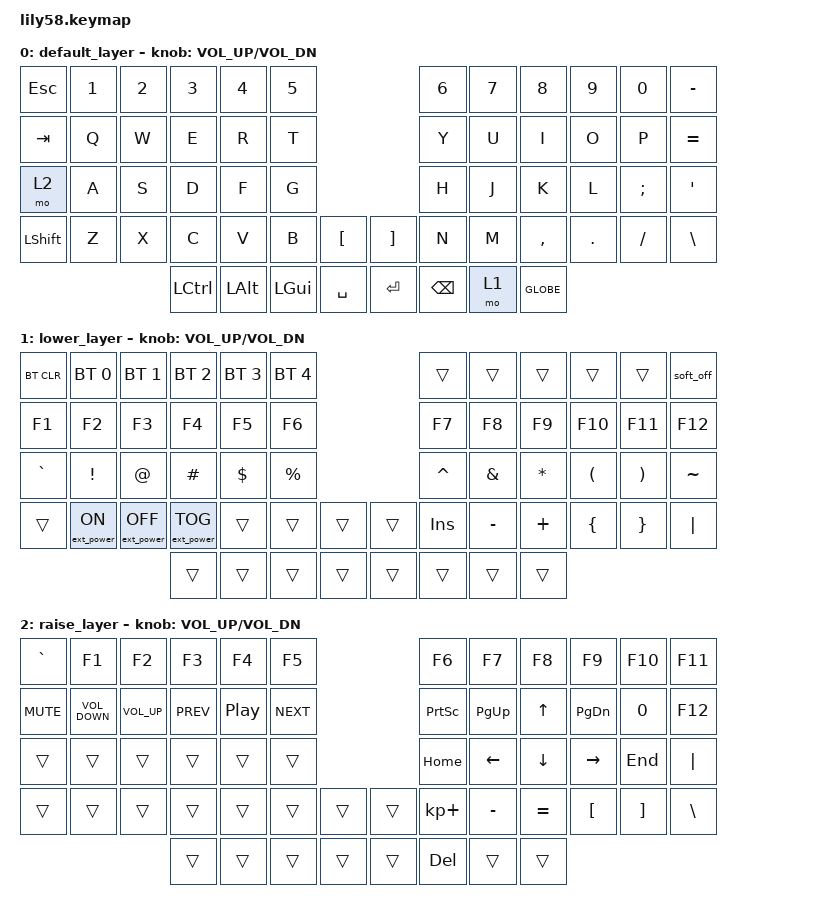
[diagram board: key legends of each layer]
/*
 * Copyright (c) 2020 The ZMK Contributors
 *
 * SPDX-License-Identifier: MIT
 */

#include <behaviors.dtsi>
#include <dt-bindings/zmk/bt.h>
#include <dt-bindings/zmk/ext_power.h>
#include <dt-bindings/zmk/keys.h>

/ {
    keymap {
        compatible = "zmk,keymap";

        default_layer {
            // ------------------------------------------------------------------------------------------------------------
            // |  ESC  |  1  |  2  |  3   |  4   |  5   |                   |  6   |  7    |  8    |  9   |   0   |   `   |
            // |  TAB  |  Q  |  W  |  E   |  R   |  T   |                   |  Y   |  U    |  I    |  O   |   P   |   -   |
            // |  CTRL |  A  |  S  |  D   |  F   |  G   |                   |  H   |  J    |  K    |  L   |   ;   |   '   |
            // | SHIFT |  Z  |  X  |  C   |  V   |  B   |   "["  |  |  "]"  |  N   |  M    |  ,    |  .   |   /   | SHIFT |
            //                     | ALT  | GUI  | LOWER|  SPACE |  | ENTER | RAISE| BSPC  | GUI   |

            bindings = <
&kp ESC    &kp N1  &kp N2  &kp N3            &kp N4        &kp N5                               &kp N6         &kp N7  &kp N8     &kp N9   &kp N0    &kp MINUS
&kp TAB    &kp Q   &kp W   &kp E             &kp R         &kp T                                &kp Y          &kp U   &kp I      &kp O    &kp P     &kp EQUAL
&mo 2      &kp A   &kp S   &kp D             &kp F         &kp G                                &kp H          &kp J   &kp K      &kp L    &kp SEMI  &kp SQT
&kp LSHFT  &kp Z   &kp X   &kp C             &kp V         &kp B         &kp LBKT     &kp RBKT  &kp N          &kp M   &kp COMMA  &kp DOT  &kp FSLH  &kp BACKSLASH
                           &kp LEFT_CONTROL  &kp LEFT_ALT  &kp LEFT_GUI  &kp SPACE    &kp RET   &kp BACKSPACE  &mo 1   &kp GLOBE
            >;

            sensor-bindings = <&inc_dec_kp C_VOL_UP C_VOL_DN>;
        };

        lower_layer {
            // ------------------------------------------------------------------------------------------------------------
            // | BTCLR | BT1 | BT2 |  BT3 |  BT4 |  BT5 |                   |      |       |       |      |       |       |
            // |  F1   |  F2 |  F3 |  F4  |  F5  |  F6  |                   |  F7  |  F8   |  F9   |  F10 |  F11  |  F12  |
            // |   `   |  !  |  @  |  #   |  $   |  %   |                   |  ^   |  &    |  *    |  (   |   )   |   ~   |
            // |       |     |     |      |      |      |        |  |       |      |  _    |  +    |  {   |   }   |  "|"  |
            //                     |      |      |      |        |  |       |      |       |       |

            bindings = <
&bt BT_CLR  &bt BT_SEL 0      &bt BT_SEL 1       &bt BT_SEL 2       &bt BT_SEL 3  &bt BT_SEL 4                    &trans      &trans     &trans     &trans    &trans    &soft_off
&kp F1      &kp F2            &kp F3             &kp F4             &kp F5        &kp F6                          &kp F7      &kp F8     &kp F9     &kp F10   &kp F11   &kp F12
&kp GRAVE   &kp EXCL          &kp AT             &kp HASH           &kp DOLLAR    &kp PRCNT                       &kp CARET   &kp AMPS   &kp ASTRK  &kp LPAR  &kp RPAR  &kp TILDE
&trans      &ext_power EP_ON  &ext_power EP_OFF  &ext_power EP_TOG  &trans        &trans        &trans    &trans  &kp INSERT  &kp MINUS  &kp PLUS   &kp LBRC  &kp RBRC  &kp PIPE
                                                 &trans             &trans        &trans        &trans    &trans  &trans      &trans     &trans
            >;

            sensor-bindings = <&inc_dec_kp C_VOL_UP C_VOL_DN>;
        };

        raise_layer {
            // ------------------------------------------------------------------------------------------------------------
            // |       |     |     |      |      |      |                   |      |       |       |      |       |       |
            // |   `   |  1  |  2  |  3   |  4   |  5   |                   |  6   |   7   |   8   |  9   |   0   |       |
            // |   F1  |  F2 |  F3 |  F4  |  F5  |  F6  |                   |      |   <-  |   v   |  ^   |  ->   |       |
            // |   F7  |  F8 |  F9 |  F10 |  F11 |  F12 |        |  |       |  +   |   -   |   =   |  [   |   ]   |   \   |
            //                     |      |      |      |        |  |       |      |       |       |

            bindings = <
&kp GRAVE   &kp F1             &kp F2           &kp F3      &kp F4            &kp F5                        &kp F6           &kp F7       &kp F8     &kp F9         &kp F10   &kp F11
&kp C_MUTE  &kp C_VOLUME_DOWN  &kp C_VOLUME_UP  &kp C_PREV  &kp C_PLAY_PAUSE  &kp C_NEXT                    &kp PRINTSCREEN  &kp PAGE_UP  &kp UP     &kp PAGE_DOWN  &kp N0    &kp F12
&trans      &trans             &trans           &trans      &trans            &trans                        &kp HOME         &kp LEFT     &kp DOWN   &kp RIGHT      &kp END   &kp PIPE
&trans      &trans             &trans           &trans      &trans            &trans      &trans    &trans  &kp KP_PLUS      &kp MINUS    &kp EQUAL  &kp LBKT       &kp RBKT  &kp BSLH
                                                &trans      &trans            &trans      &trans    &trans  &kp DELETE       &trans       &trans
            >;

            sensor-bindings = <&inc_dec_kp C_VOL_UP C_VOL_DN>;
        };
    };
};
